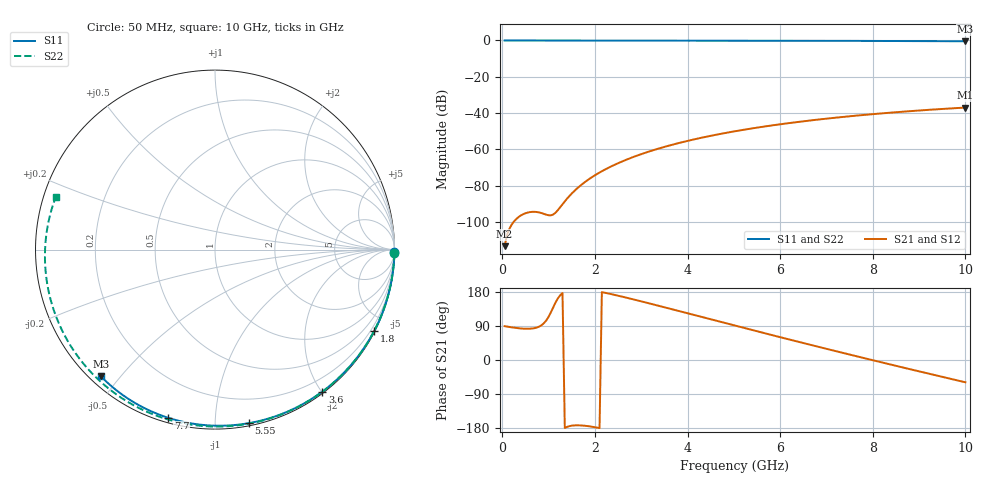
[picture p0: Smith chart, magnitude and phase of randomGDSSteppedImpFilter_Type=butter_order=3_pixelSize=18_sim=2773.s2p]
! freq	dB(S11)	phase(S11)	dB(S12)	phase(S12)
!  dB(S21)	phase(S21)	dB(S22)	phase(S22)
!S-par simulation data
#  GHz  S  DB  R 50
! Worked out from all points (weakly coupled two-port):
!   200 points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, 50 MHz to 10 GHz, reference 50 ohm
!   highest |S21| = -36.97 dB at 10 GHz (marker M1); lowest = -113.3 dB at 50 MHz (marker M2)
!   lowest |S11| = -0.4 dB at 10 GHz (marker M3), VSWR 38.90, Z = 1.54 - j22.2 ohm
!   |S11| at or under -10 dB: nowhere
!   |S22| runs from -0.6 to 0.0 dB; largest |S21 - S12| = 0
!   S11 on the Smith chart (normalised r, x): 50 MHz: open; 1.8 GHz: 0.04, -4.15; 3.6 GHz: 0.02, -2.01; 5.55 GHz: 0.02, -1.21; 7.7 GHz: 0.02, -0.76; 10 GHz: 0.03, -0.44
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0.05  -0.00 -0.8  -113.33 89.3  -113.33 89.3  -0.00 -1.2
0.4  -0.01 -6.1  -96.42 83.2  -96.42 83.2  -0.01 -9.5
0.8  -0.02 -12.1  -94.76 88.4  -94.76 88.4  -0.02 -18.9
1.2  -0.02 -18.2  -93.46 162.6  -93.46 162.6  -0.04 -28.2
1.65  -0.03 -24.9  -80.73 -172.4  -80.73 -172.4  -0.05 -38.4
1.7  -0.03 -25.6  -79.67 -172.6  -79.67 -172.6  -0.05 -39.6
1.75  -0.03 -26.3  -78.66 -173.1  -78.66 -173.1  -0.05 -40.7
1.8  -0.03 -27.1  -77.70 -173.7  -77.70 -173.7  -0.05 -41.8
2.1  -0.04 -31.5  -72.76 -179.6  -72.76 -179.6  -0.06 -48.5
2.5  -0.05 -37.3  -67.63 169.7  -67.63 169.7  -0.07 -57.3
2.9  -0.06 -43.1  -63.53 157.9  -63.53 157.9  -0.08 -65.9
3.4  -0.07 -50.1  -59.37 142.3  -59.37 142.3  -0.10 -76.3
3.6  -0.07 -52.9  -57.93 136.0  -57.93 136.0  -0.11 -80.4
4.3  -0.09 -62.5  -53.60 113.8  -53.60 113.8  -0.13 -94.4
5.05  -0.11 -72.6  -49.90 90.0  -49.90 90.0  -0.16 -108.7
5.55  -0.13 -79.0  -47.83 74.2  -47.83 74.2  -0.19 -118.0
6.15  -0.15 -86.7  -45.66 55.5  -45.66 55.5  -0.23 -128.8
6.7  -0.18 -93.5  -43.93 38.6  -43.93 38.6  -0.26 -138.6
7.7  -0.24 -105.5  -41.28 8.4  -41.28 8.4  -0.34 -156.3
8.35  -0.29 -113.2  -39.84 -11.0  -39.84 -11.0  -0.40 -167.8
9.2  -0.36 -123.0  -38.23 -35.8  -38.23 -35.8  -0.49 176.9
10  -0.45 -132.1  -36.97 -58.8  -36.97 -58.8  -0.59 161.8
